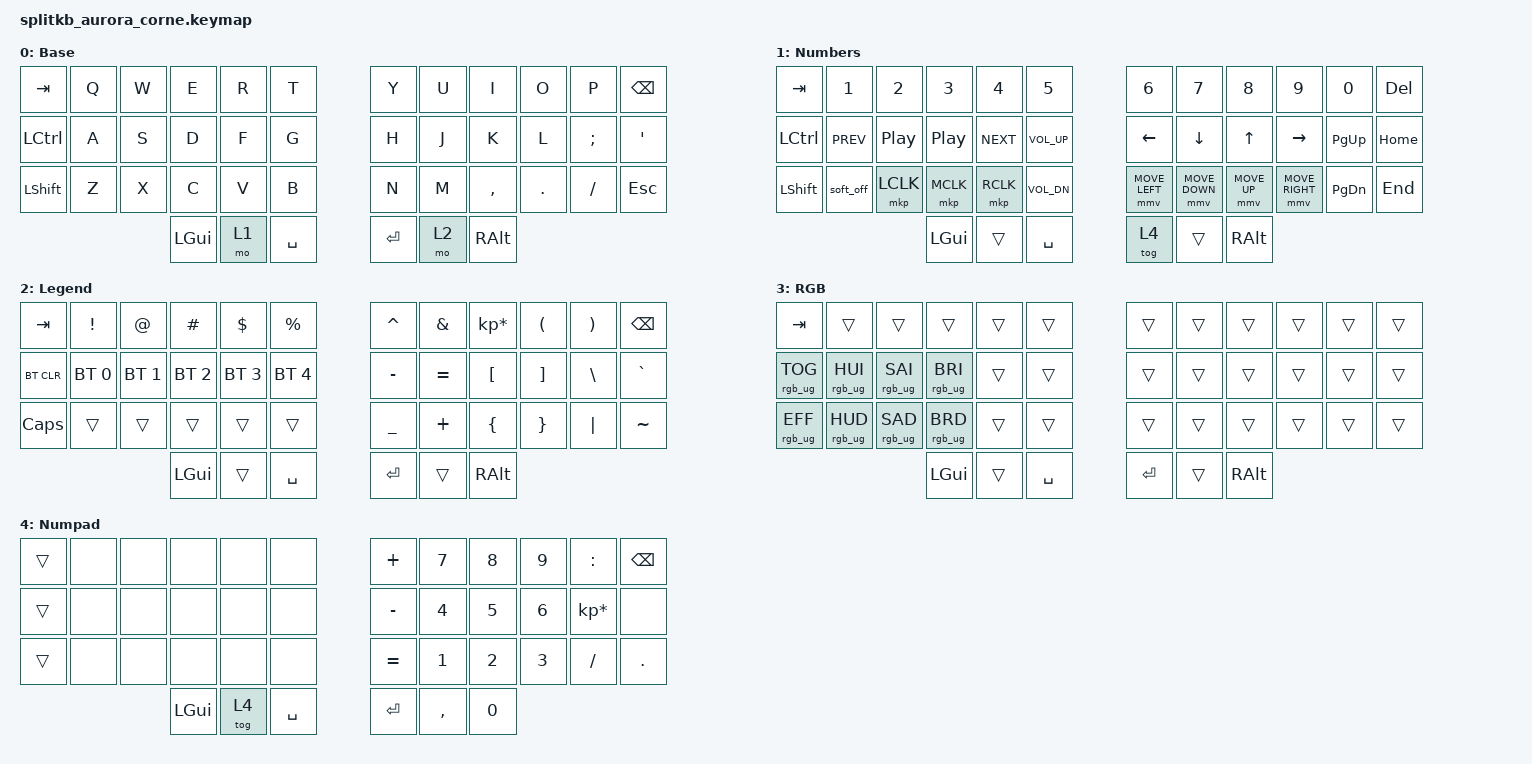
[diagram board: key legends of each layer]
#include <../boards/shields/splitkb_aurora_corne/boards/nice_nano_v2.overlay>
#include <dt-bindings/zmk/rgb.h>
/*
 * Copyright (c) 2020 The ZMK Contributors
 *
 * SPDX-License-Identifier: MIT
 */

#include <behaviors.dtsi>
#include <dt-bindings/zmk/keys.h>
#include <dt-bindings/zmk/bt.h>
#include <dt-bindings/zmk/ext_power.h>
#include <dt-bindings/zmk/pointing.h>

&led_strip {
    chain-length = <21>;
};

//#&nice_view_spi {
//#    cs-gpios = <&pro_micro 0 GPIO_ACTIVE_HIGH>;
//#};

&soft_off {
    hold-time-ms = <1500>; // Only turn off it the key is held for 5 seconds or longer.
};

/{conditional_layers {
    compatible = "zmk,conditional-layers";
    tri_layer {
            if-layers = <1 2>;
            then-layer = <3>;
        };
    };
    keymap {
        compatible = "zmk,keymap";
        default_layer {display-name = "Base";
        // -----------------------------------------------------------------------------------------
        // |  TAB |  Q  |  W  |  E  |  R  |  T  |   |  Y  |  U   |  I  |  O  |  P  | BKSP |
        // | CTRL |  A  |  S  |  D  |  F  |  G  |   |  H  |  J   |  K  |  L  |  ;  |  '   |
        // | SHFT |  Z  |  X  |  C  |  V  |  B  |   |  N  |  M   |  ,  |  .  |  /  | ESC  |
        //                    | GUI | LWR | SPC |   | ENT | RSE  | ALT |
            bindings = <
           &kp TAB   &kp Q &kp W &kp E &kp R &kp T   &kp Y &kp U  &kp I     &kp O   &kp P    &kp BSPC
           &kp LCTRL &kp A &kp S &kp D &kp F &kp G   &kp H &kp J  &kp K     &kp L   &kp SEMI &kp SQT
           &kp LSHFT &kp Z &kp X &kp C &kp V &kp B   &kp N &kp M  &kp COMMA &kp DOT &kp FSLH &kp ESC
                          &kp LGUI &mo 1 &kp SPACE   &kp RET &mo 2 &kp RALT
                >;
        };
        lower_layer {display-name = "Numbers";
        // -----------------------------------------------------------------------------------------
        //     |  TAB     |  1      |  2      |  3      |  4      |  5          |       |  6      |  7      |  8      |  9      |  0      |  DEL  |
        //     | CTRL     | C_PREV  | C_PP    | C_PP    | C_NEXT  | C_VOL_UP    |       | LFT     | DWN     |  UP     | RGT     |  PG_UP  |  HOME |
        //     | SHFT     | S_OFF   |  LCLK   |  MCLK   |  RCLK   |   C_VOL_DN  |       | MV_LFT  | MV_DWN  |  MV_UP  | MV_RGT  |  PG_DN  |  END  |
        //                                    | GUI     |         | SPC         |       | TOG4     |         | ALT     |
            bindings = <
               &kp TAB   &kp N1      &kp N2    &kp N3    &kp N4     &kp N5                &kp N6    &kp N7    &kp N8     &kp N9    &kp N0     &kp DEL
               &kp LCTRL &kp C_PREV  &kp C_PP  &kp C_PP  &kp C_NEXT &kp C_VOL_UP          &kp LEFT  &kp DOWN  &kp UP     &kp RIGHT &kp PG_UP   &kp HOME 
               &kp LSHFT &soft_off   &mkp LCLK &mkp MCLK &mkp RCLK  &kp C_VOL_DN          &mmv MOVE_LEFT   &mmv MOVE_DOWN &mmv MOVE_UP &mmv MOVE_RIGHT &kp PG_DN  &kp END
                                  	          &kp LGUI &trans     &kp SPACE             &tog 4   &trans    &kp RALT
                >;
        };

        raise_layer {display-name = "Legend";
        // -----------------------------------------------------------------------------------------
        // |  TAB     |  !          |  @        |  #         |  $          |  %  |         |  ^      |  &     |  *             |  (     |  )    | BKSP |
        // | BTCLR    | BT1         | BT2       | BT3        | BT4         | BT5 |         |  -      |  =     |  [             |  ]     |  \    |  `   |
        // | CAPS     |             |           |            |             |     |         |  _      |  +     |  {             |  }     | "|"   |  ~   |
        //                                      | GUI        |             | SPC |         | ENT     |         | ALT |
                                bindings = <
           &kp TAB    &kp EXCL      &kp AT       &kp HASH     &kp DLLR     &kp PRCNT       &kp CARET &kp AMPS  &kp KP_MULTIPLY &kp LPAR &kp RPAR &kp BSPC
           &bt BT_CLR &bt BT_SEL 0  &bt BT_SEL 1 &bt BT_SEL 2 &bt BT_SEL 3 &bt BT_SEL 4    &kp MINUS &kp EQUAL &kp LBKT        &kp RBKT &kp BSLH &kp GRAVE
           &kp CLCK   &trans        &trans       &trans       &trans       &trans          &kp UNDER &kp PLUS  &kp LBRC        &kp RBRC &kp PIPE &kp TILDE
                            	                 &kp LGUI    &trans       &kp SPACE        &kp RET   &trans    &kp RALT
                >;
        };

        adjust_layer {display-name = "RGB";
        // -----------------------------------------------------------------------------------------
        // |  TAB |         |           |        |         |     |   |     |     |     |     |     |      |
        // | RGB_TOG | RGB_HUI | RGB_SAI  | RGB_BRI |  |     |   |  -  |  =  |  [  |  ]  |  \  |  `   |
        // | RGB_EFF | RGB_HUD | RGB_SAD  | RGB_BRD |  |     |   |  _  |  +  |  {  |  }  | "|" |  ~   |
        //                    | GUI |     | SPC |  | ENT |     | ALT |
                                bindings = <
           &kp  TAB  &trans &trans &trans &trans &trans   &trans &trans  &trans &trans &trans &trans
           &rgb_ug RGB_TOG &rgb_ug RGB_HUI  &rgb_ug RGB_SAI &rgb_ug RGB_BRI &trans     &trans        &trans &trans &trans &trans &trans &trans
           &rgb_ug RGB_EFF &rgb_ug RGB_HUD  &rgb_ug RGB_SAD &rgb_ug RGB_BRD &trans     &trans      &trans &trans &trans  &trans &trans &trans
                            	     &kp LGUI &trans   &kp SPACE   &kp RET   &trans    &kp RALT
                >;
        };
        numpad_layer {display-name = "Numpad";
        // -----------------------------------------------------------------------------------------
         // |     |     |     |     |     |     |     |    +    |   7    |    8    |    9    |    :    | BKSP |
        // |     |     |     |     |     |     |     |    -    |   4    |    5    |    6    |    *    |      |
        // |     |     |     |     |     |     |     |    =    |   1    |    2    |    3    |    /    |  .   |
        //                   | GUI | TOG4| SPC |     |   ENT   |   ,    |    0    |
                                bindings = <
            &trans &none &none &none &none &none      &kp PLUS  &kp N7   &kp N8    &kp N9   &kp COLON &kp BSPC
            &trans &none &none &none &none &none      &kp MINUS &kp N4   &kp N5    &kp N6   &kp KP_MULTIPLY &none
            &trans &none &none &none &none &none      &kp EQUAL &kp N1   &kp N2    &kp N3   &kp FSLH  &kp DOT
                             &kp LGUI &tog 4 &kp SPACE &kp RET  &kp COMMA &kp N0
                >;
        };
    };
};
